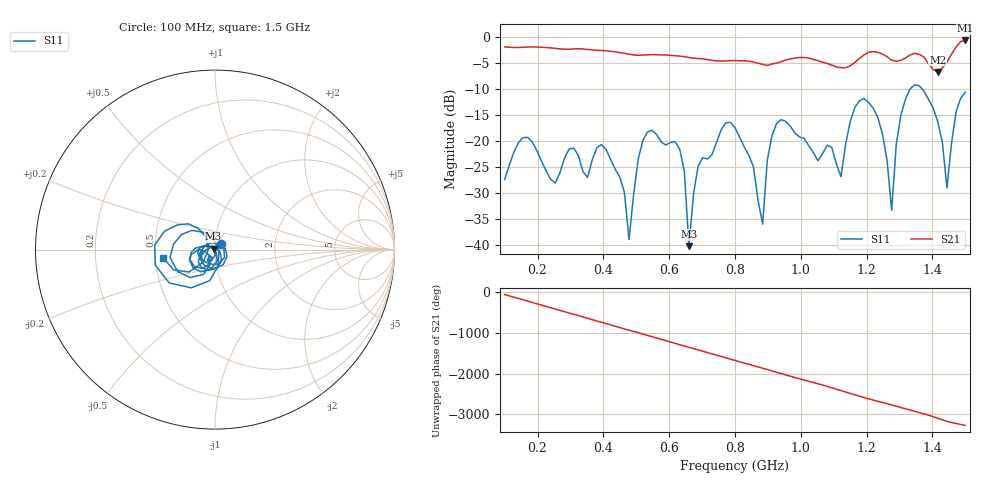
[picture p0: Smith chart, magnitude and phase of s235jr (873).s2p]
! NanoVNA-App
! Date: 2025-09-25 15:10:58
! Start: 100MHz Stop: 1,5GHz Points: 101
! S-Parameter data: F S11 S21 S12 S22
# Hz S RI R 50
!  Frequency  S11_Real  S11_Imag  S21_Real  S21_Imag  S12_Real  S12_Imag  S22_Real  S22_Imag
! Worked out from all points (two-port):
!   101 points, 100 MHz to 1.5 GHz, reference 50 ohm
!   highest |S21| = -0.73 dB at 1.5 GHz (marker M1); lowest = -6.8 dB at 1.416 GHz (marker M2)
!   |S21| within 3 dB of the highest: start of sweep to 631.6 MHz; 1.187 GHz to 1.259 GHz (71.19 MHz wide, 5.82 % of centre) (the widest 2 of 4)
!   lowest |S11| = -40.3 dB at 660 MHz (marker M3), VSWR 1.02, Z = 49.2 + j0.538 ohm
!   |S11| at or under -10 dB: start of sweep to 1.332 GHz; 1.367 GHz to end of sweep
!   S12 and S22 are empty: the file has one direction only
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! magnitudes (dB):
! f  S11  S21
! 100 MHz  -27.5  -2.0
! 156 MHz  -19.4  -2.0
! 338 MHz  -25.9  -2.4
! 408 MHz  -21.7  -2.7
! 478 MHz  -39.0  -3.4
! 520 MHz  -20.0  -3.5
! 576 MHz  -20.3  -3.5
! 632 MHz  -21.6  -3.7
! 660 MHz  -40.3  -4.0
! 688 MHz  -24.9  -4.2
! 800 MHz  -17.5  -4.6
! 884 MHz  -36.0  -5.3
! 926 MHz  -16.7  -5.1
! 1.038 GHz  -22.3  -4.4
! 1.122 GHz  -26.9  -6.0
! 1.192 GHz  -11.9  -3.5
! 1.248 GHz  -18.7  -3.4
! 1.276 GHz  -33.4  -4.5
! 1.332 GHz  -10.0  -3.5
! 1.416 GHz  -16.4  -6.8
! 1.444 GHz  -29.1  -4.9
! 1.5 GHz  -10.7  -0.7
